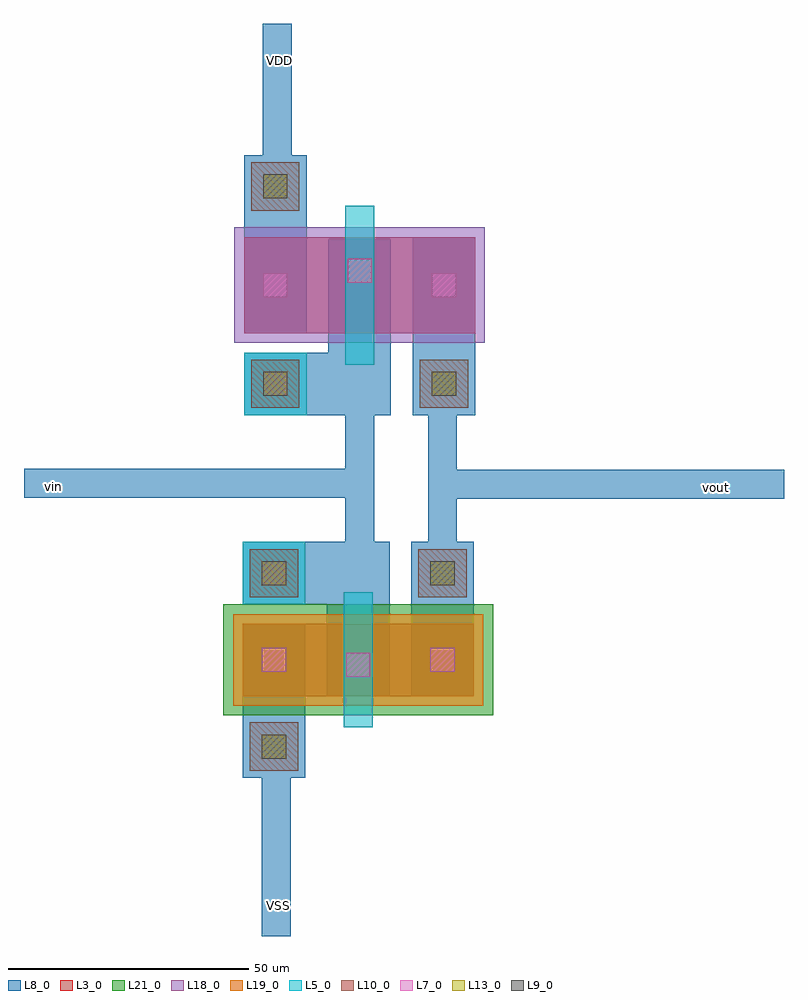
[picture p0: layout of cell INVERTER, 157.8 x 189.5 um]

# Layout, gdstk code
import gdstk
lib = gdstk.Library(unit=1e-6, precision=1e-07)
def R(c, l, rs):  # rectangles x0, y0, x1, y1
    for r in rs: c.add(gdstk.rectangle(r[:2], r[2:], *l))
L3_0 = (3, 0)
L5_0 = (5, 0)
L7_0 = (7, 0)
L8_0 = (8, 0)
L9_0 = (9, 0)
L10_0 = (10, 0)
L13_0 = (13, 0)
L18_0 = (18, 0)
L19_0 = (19, 0)
L21_0 = (21, 0)

dcont = lib.new_cell('dcont')
R(dcont, L3_0, [(-6.5,-6.5,6.5,6.5)])
R(dcont, L7_0, [(-2.5,-2.5,2.5,2.5)])
R(dcont, L8_0, [(-6.5,-6.5,6.5,6.5)])

pcont = lib.new_cell('pcont')
R(pcont, L5_0, [(-6.5,-6.5,6.5,6.5)])
R(pcont, L7_0, [(-2.5,-2.5,2.5,2.5)])
R(pcont, L8_0, [(-6.5,-6.5,6.5,6.5)])
R(pcont, L13_0, [(-2.5,-2.5,2.5,2.5)])

via = lib.new_cell('Via')
R(via, L8_0, [(-6.5,-6.5,6.5,6.5)])
R(via, L9_0, [(-2.5,-2.5,2.5,2.5)])
R(via, L10_0, [(-5,-5,5,5)])
R(via, L13_0, [(-2.5,-2.5,2.5,2.5)])

nch = lib.new_cell('Nch')
R(nch, L3_0, [(0,17,48,32)])
R(nch, L19_0, [(-2,15,50,34)])
R(nch, L21_0, [(-4,13,52,36)])
nch.add(gdstk.FlexPath([(24,17),(24,32)], 6, ends=(6.5, 6.5), simple_path=True, layer=5, datatype=0))  # L5_0
nch.add(gdstk.FlexPath([(6.5,17),(6.5,32)], 13, ends="flush", simple_path=True, layer=8, datatype=0))  # L8_0
nch.add(gdstk.FlexPath([(41.5,17),(41.5,32)], 13, ends="flush", simple_path=True, layer=8, datatype=0))  # L8_0
nch.add(gdstk.FlexPath([(6.5,42.5),(24,42.5),(24,38.5)], 13, ends="flush", simple_path=True, layer=8, datatype=0))  # L8_0
nch.add(gdstk.FlexPath([(6.5,6.5),(6.5,21)], 13, ends="flush", simple_path=True, layer=8, datatype=0))  # L8_0
nch.add(gdstk.FlexPath([(24,17),(24,42.5)], 13, ends="flush", simple_path=True, layer=8, datatype=0))  # L8_0
nch.add(gdstk.FlexPath([(41.5,28),(41.5,41.5)], 13, ends="flush", simple_path=True, layer=8, datatype=0))  # L8_0
nch.add(gdstk.Reference(dcont, (6.5,24.5)))
nch.add(gdstk.Reference(dcont, (41.5,24.5)))
nch.add(gdstk.Reference(pcont, (6.5,42.5)))
nch.add(gdstk.Reference(via, (6.5,42.5)))
nch.add(gdstk.Reference(via, (6.5,6.5)))
nch.add(gdstk.Reference(dcont, (24,23.5)))
nch.add(gdstk.Reference(via, (41.5,42.5)))

pch = lib.new_cell('Pch')
R(pch, L3_0, [(0,17,48,37)])
R(pch, L18_0, [(-2,15,50,39)])
pch.add(gdstk.FlexPath([(24,17),(24,37)], 6, ends=(6.5, 6.5), simple_path=True, layer=5, datatype=0))  # L5_0
pch.add(gdstk.FlexPath([(6.5,17),(6.5,37)], 13, ends="flush", simple_path=True, layer=8, datatype=0))  # L8_0
pch.add(gdstk.FlexPath([(41.5,17),(41.5,37)], 13, ends="flush", simple_path=True, layer=8, datatype=0))  # L8_0
pch.add(gdstk.FlexPath([(6.5,6.5),(24,6.5),(24,10.5)], 13, ends="flush", simple_path=True, layer=8, datatype=0))  # L8_0
pch.add(gdstk.FlexPath([(6.5,33),(6.5,47.5)], 13, ends="flush", simple_path=True, layer=8, datatype=0))  # L8_0
pch.add(gdstk.FlexPath([(24,6.5),(24,36.5)], 13, ends="flush", simple_path=True, layer=8, datatype=0))  # L8_0
pch.add(gdstk.FlexPath([(41.5,9),(41.5,21)], 13, ends="flush", simple_path=True, layer=8, datatype=0))  # L8_0
pch.add(gdstk.Reference(dcont, (6.5,27)))
pch.add(gdstk.Reference(dcont, (41.5,27)))
pch.add(gdstk.Reference(pcont, (6.5,6.5)))
pch.add(gdstk.Reference(via, (6.5,6.5)))
pch.add(gdstk.Reference(via, (6.5,47.5)))
pch.add(gdstk.Reference(dcont, (24,30)))
pch.add(gdstk.Reference(via, (41.5,6.5)))

inverter = lib.new_cell('INVERTER')
inverter.add(gdstk.FlexPath([(136.7,81.3),(136.7,41.8),(136.8,41.8),(136.8,42.2)], 6, ends="flush", simple_path=True, layer=8, datatype=0))  # L8_0
inverter.add(gdstk.FlexPath([(119.5,104.7),(119.5,23.1)], 6, ends="flush", simple_path=True, layer=8, datatype=0))  # L8_0
inverter.add(gdstk.FlexPath([(136.6,61.1),(207.6,61.1),(207.6,61.1)], 6, ends="flush", simple_path=True, layer=8, datatype=0))  # L8_0
inverter.add(gdstk.FlexPath([(119.4,61.3),(49.8,61.3)], 6, ends="flush", simple_path=True, layer=8, datatype=0))  # L8_0
inverter.add(gdstk.FlexPath([(102.2,19.1),(102.2,-32.8)], 6, ends="flush", simple_path=True, layer=8, datatype=0))  # L8_0
inverter.add(gdstk.FlexPath([(102.4,96.7),(102.4,156.7)], 6, ends="flush", simple_path=True, layer=8, datatype=0))  # L8_0
inverter.add(gdstk.Reference(nch, (95.2,0.1)))
inverter.add(gdstk.Reference(pch, (95.5,75.4)))
inverter.add(gdstk.Label('vout', (193.5,60.4), layer=8, texttype=0))
inverter.add(gdstk.Label('VDD', (102.9,149.1), layer=8, texttype=0))
inverter.add(gdstk.Label('vin', (55.9,60.6), layer=8, texttype=0))
inverter.add(gdstk.Label('VSS', (102.6,-26.4), layer=8, texttype=0))

lib.write_gds('INVERTER.gds')
